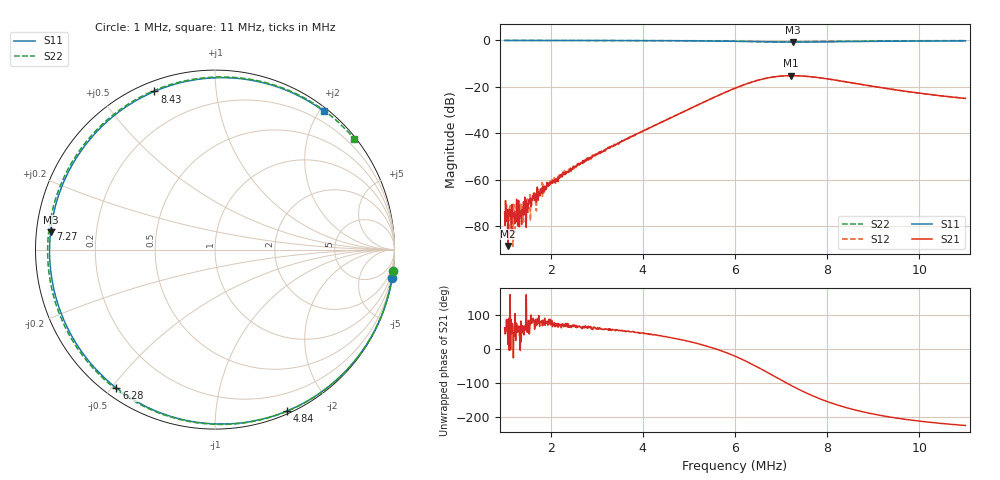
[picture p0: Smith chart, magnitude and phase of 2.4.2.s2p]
# MHz S DB R 50
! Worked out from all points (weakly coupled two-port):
!   1001 points, 1 MHz to 11 MHz, reference 50 ohm
!   highest |S21| = -15.13 dB at 7.21 MHz (marker M1); lowest = -88.4 dB at 1.07 MHz (marker M2)
!   lowest |S11| = -0.7 dB at 7.25 MHz (marker M3), VSWR 24.36, Z = 2.06 + j2.62 ohm
!   |S11| at or under -10 dB: nowhere
!   |S22| runs from -0.6 to 0.0 dB; largest |S21 - S12| = 0.00057
!   S11 on the Smith chart (normalised r, x): 1 MHz: 0, -13; 4.84 MHz: 0.03, -1.54; 6.28 MHz: 0.03, -0.51; 7.27 MHz: 0.04, +0.06; 8.43 MHz: 0.04, +0.69; 11 MHz: 0.05, +2.05
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1  -0.00 -9.0  -73.93 63.8  -76.60 113.2  -0.00 -6.7
1.07  -0.01 -9.7  -88.36 15.2  -75.95 93.6  -0.00 -7.2
1.19  -0.01 -10.8  -75.27 -25.0  -70.44 62.4  -0.00 -8.0
1.31  -0.01 -11.9  -69.59 68.9  -69.19 34.3  -0.01 -8.8
1.37  -0.01 -12.4  -79.21 71.6  -71.51 71.5  -0.01 -9.2
1.66  -0.01 -15.2  -68.80 66.3  -65.79 80.4  -0.01 -11.3
2.04  -0.02 -19.1  -61.45 66.9  -59.97 80.0  -0.01 -14.2
2.67  -0.01 -26.1  -52.39 65.9  -52.63 62.5  -0.01 -19.6
4.34  -0.09 -53.5  -35.79 41.1  -35.82 40.6  -0.05 -42.7
4.84  -0.13 -66.0  -31.07 28.3  -31.05 28.0  -0.08 -54.5
5.43  -0.23 -85.4  -25.52 8.1  -25.54 7.8  -0.16 -74.9
6  -0.37 -110.5  -20.55 -20.0  -20.56 -19.9  -0.31 -105.3
6.28  -0.47 -125.5  -18.45 -37.3  -18.46 -37.4  -0.42 -125.5
6.77  -0.64 -155.1  -15.89 -72.6  -15.90 -72.6  -0.58 -167.9
7.21  -0.71 176.5  -15.13 -105.3  -15.14 -105.4  -0.60 152.9
7.25  -0.71 174.0  -15.14 -108.2  -15.14 -108.3  -0.60 149.6
7.27  -0.71 172.7  -15.14 -109.5  -15.14 -109.6  -0.59 148.0
7.67  -0.68 148.4  -15.65 -135.4  -15.66 -135.5  -0.49 119.2
8.01  -0.60 130.1  -16.54 -153.6  -16.54 -153.6  -0.40 100.4
8.43  -0.50 111.0  -17.87 -171.6  -17.87 -171.7  -0.30 83.0
9.34  -0.33 81.4  -20.80 161.8  -20.79 161.8  -0.17 59.4
11  -0.17 51.9  -24.91 136.5  -24.93 136.4  -0.08 38.5
